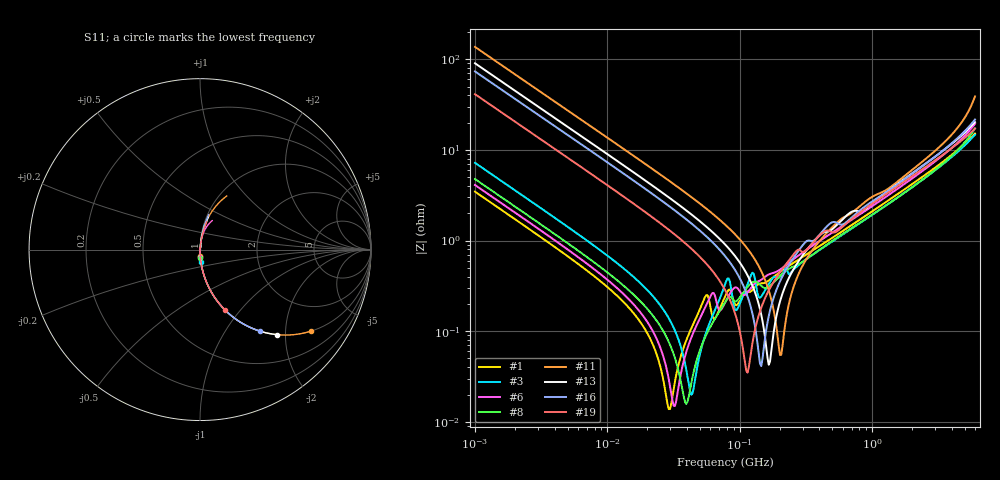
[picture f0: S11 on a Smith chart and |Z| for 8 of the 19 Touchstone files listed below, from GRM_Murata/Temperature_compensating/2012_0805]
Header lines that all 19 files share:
!These Parameters are Measured in Series Mode Connection
!Data Generated on Mar 30, 2021
!  o--ll--o
!Port1  Port2
!  o------o
!Operation Temp=25[degC], DC Bias Voltage=0[V]
# Hz S RI R 50
!Freq.(Hz) S11(Real) S11(Imag) S21(Real) S21(Imag) S12(Real) S12(Imag) S22(Real) S22(Imag)
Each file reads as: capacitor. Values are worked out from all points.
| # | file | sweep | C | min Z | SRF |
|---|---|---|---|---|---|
| 1 | GRM21B1X1H473JA01.s2p | 1 MHz to 6 GHz | 45.9 nF | 13.8 mohm | 29.54 MHz |
| 2 | GRM21B2C1H183JA01.s2p | 1 MHz to 6 GHz | 17.9 nF | 17.7 mohm | 49.59 MHz |
| 3 | GRM21B2C1H223JA01.s2p | 1 MHz to 6 GHz | 22.1 nF | 19.9 mohm | 43.52 MHz |
| 4 | GRM21B3U1A823JA01.s2p | 1 MHz to 6 GHz | 83.9 nF | 12.3 mohm | 22.21 MHz |
| 5 | GRM21B7U1A104JA01.s2p | 1 MHz to 6 GHz | 97.7 nF | 11 mohm | 19.99 MHz |
| 6 | GRM21B7U1H393JA01.s2p | 1 MHz to 6 GHz | 38.8 nF | 15 mohm | 32.19 MHz |
| 7 | GRM2161X1A223JA01.s2p | 1 MHz to 6 GHz | 22.4 nF | 16 mohm | 47.19 MHz |
| 8 | GRM2161X1A333JA01.s2p | 1 MHz to 6 GHz | 33.4 nF | 15.7 mohm | 39.6 MHz |
| 9 | GRM2161X1H103JA01.s2p | 1 MHz to 6 GHz | 10 nF | 26 mohm | 70.8 MHz |
| 10 | GRM2161X1H183JA01.s2p | 1 MHz to 6 GHz | 18.1 nF | 21.8 mohm | 54.22 MHz |
| 11 | GRM2162C1H122JA01.s2p | 1 MHz to 6 GHz | 1.16 nF | 54.7 mohm | 204 MHz |
| 12 | GRM2162C1H152JA01.s2p | 1 MHz to 6 GHz | 1.48 nF | 50.3 mohm | 179.8 MHz |
| 13 | GRM2162C1H182JA01.s2p | 1 MHz to 6 GHz | 1.76 nF | 42.6 mohm | 166.7 MHz |
| 14 | GRM2162C1H272JA01.s2p | 1 MHz to 6 GHz | 2.68 nF | 40.4 mohm | 134.3 MHz |
| 15 | GRM2162C2A221JA01.s2p | 100 MHz to 8.5 GHz | 220 pF | 97.4 mohm | 495.7 MHz |
| 16 | GRM2162C2A222JA01.s2p | 1 MHz to 6 GHz | 2.17 nF | 41.2 mohm | 144.9 MHz |
| 17 | GRM2162C2A332JA01.s2p | 1 MHz to 6 GHz | 3.25 nF | 37.2 mohm | 120.5 MHz |
| 18 | GRM2162C2A391JA01.s2p | 100 MHz to 8.5 GHz | 391 pF | 92 mohm | 356.3 MHz |
| 19 | GRM2162C2A392JA01.s2p | 1 MHz to 6 GHz | 3.87 nF | 34.9 mohm | 114.2 MHz |
